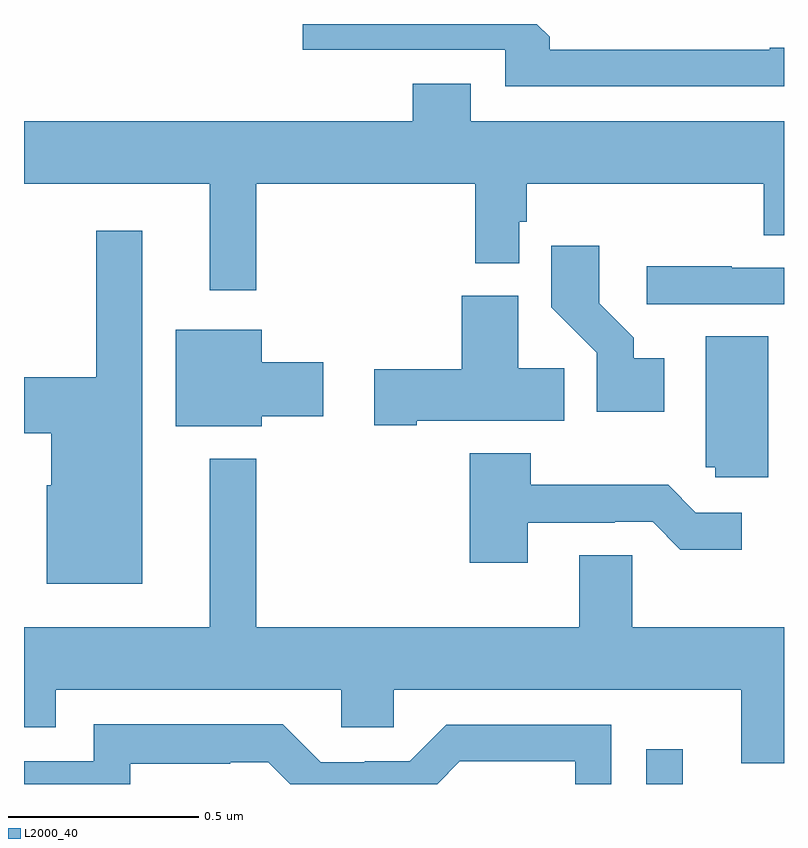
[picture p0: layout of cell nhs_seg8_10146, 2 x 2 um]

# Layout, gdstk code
import gdstk
lib = gdstk.Library(unit=1e-6, precision=1e-09)
def R(c, l, rs):  # rectangles x0, y0, x1, y1
    for r in rs: c.add(gdstk.rectangle(r[:2], r[2:], *l))
def P(c, l, *ps):  # polygons
    for p in ps: c.add(gdstk.Polygon(p, *l))
L2000_40 = (2000, 40)

nhs_seg8_10146 = lib.new_cell('nhs_seg8_10146')
R(nhs_seg8_10146, L2000_40, [(246.637,1134.9,246.733,1134.991)])
P(nhs_seg8_10146, L2000_40, [(247,1136.837),(246.962,1136.837),(246.962,1136.832),(246.383,1136.832),(246.383,1136.866),(246.349,1136.9),(245.733,1136.9),(245.733,1136.832),(246.267,1136.832),(246.267,1136.736),(247,1136.736)],
  [(246.175,1136.743),(246.023,1136.743),(246.023,1136.644),(245,1136.644),(245,1136.48),(245.489,1136.48),(245.489,1136.199),(245.611,1136.199),(245.611,1136.48),(246.187,1136.48),(246.187,1136.27),(246.303,1136.27),(246.303,1136.379),(246.323,1136.379),(246.323,1136.48),(246.947,1136.48),(246.947,1136.344),(247,1136.344),(247,1136.644),(246.175,1136.644)],
  [(245.311,1136.356),(245.19,1136.356),(245.19,1135.97),(245,1135.97),(245,1135.823),(245.072,1135.823),(245.072,1135.686),(245.06,1135.686),(245.06,1135.427),(245.311,1135.427)],
  [(246.685,1136.02),(246.604,1136.02),(246.604,1136.075),(246.514,1136.165),(246.514,1136.317),(246.388,1136.317),(246.388,1136.154),(246.507,1136.035),(246.507,1135.88),(246.685,1135.88)],
  [(247,1136.259),(246.863,1136.259),(246.863,1136.262),(246.639,1136.262),(246.639,1136.163),(247,1136.163)],
  [(246.034,1135.856),(246.422,1135.856),(246.422,1135.994),(246.301,1135.994),(246.301,1136.185),(246.152,1136.185),(246.152,1135.991),(245.922,1135.991),(245.922,1135.844),(246.034,1135.844)],
  [(245.626,1135.868),(245.788,1135.868),(245.788,1136.01),(245.626,1136.01),(245.626,1136.095),(245.399,1136.095),(245.399,1135.841),(245.626,1135.841)],
  [(246.958,1136.078),(246.794,1136.078),(246.794,1135.734),(246.819,1135.734),(246.819,1135.707),(246.958,1135.707)],
  [(246.325,1135.587),(246.554,1135.587),(246.554,1135.59),(246.654,1135.59),(246.727,1135.517),(246.889,1135.517),(246.889,1135.614),(246.768,1135.614),(246.695,1135.687),(246.333,1135.687),(246.333,1135.771),(246.173,1135.771),(246.173,1135.482),(246.325,1135.482)],
  [(247,1135.312),(246.6,1135.312),(246.6,1135.502),(246.461,1135.502),(246.461,1135.312),(245.611,1135.312),(245.611,1135.756),(245.489,1135.756),(245.489,1135.312),(245,1135.312),(245,1135.049),(245.083,1135.049),(245.083,1135.148),(245.835,1135.148),(245.835,1135.05),(245.973,1135.05),(245.973,1135.148),(246.887,1135.148),(246.887,1134.954),(247,1134.954)],
  [(245.28,1134.953),(245.543,1134.953),(245.543,1134.957),(245.643,1134.957),(245.7,1134.9),(246.087,1134.9),(246.147,1134.96),(246.45,1134.96),(246.45,1134.9),(246.546,1134.9),(246.546,1135.056),(246.111,1135.056),(246.015,1134.96),(245.897,1134.96),(245.897,1134.957),(245.781,1134.957),(245.681,1135.057),(245.184,1135.057),(245.184,1134.96),(245,1134.96),(245,1134.9),(245.28,1134.9)])

lib.write_gds('nhs_seg8_10146.gds')
